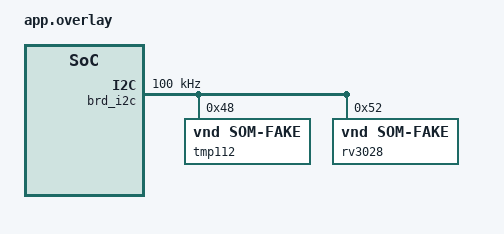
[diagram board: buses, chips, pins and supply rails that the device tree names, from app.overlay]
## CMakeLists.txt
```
# SPDX-License-Identifier: Apache-2.0
#
# native_sim coverage for the SoM power-domain runtime (#2784, U5):
# policy validation, quiesce / restore order, the CC3501E restore path, the
# BKRAM record and the cold-boot restore.
#
# Like power_alif_dcdc_bounds, this app does NOT set CONFIG_ALP_SDK=y: it
# compiles the real som_power*.c translation units (and the TMP112 chip driver)
# straight into the test image, so nothing else from the SDK library is linked
# and the test can fake the CC3501E driver, the OSPI flash suspend/resume, the
# pad-apply step and the alp_i2c / alp_gpio calls the adapters make.  The real
# pinctrl path and the pm_policy vtable wiring are covered by power_som_pm_policy.  The domains come from app.overlay: GPIO and I2C emulators
# standing in for the AEN LPGPIO / GPIO / BRD_I2C blocks, with the AEN801-style
# population (no HyperRAM, so EXT_RAM is absent).
cmake_minimum_required(VERSION 3.20.0)
find_package(Zephyr REQUIRED HINTS $ENV{ZEPHYR_BASE})
project(test_power_som_domains)

get_filename_component(ALP_SDK_ROOT ${CMAKE_CURRENT_SOURCE_DIR}/../../.. ABSOLUTE)
set(POWER_SRC ${ALP_SDK_ROOT}/src/backends/power)

target_include_directories(app PRIVATE ${ALP_SDK_ROOT}/include ${ALP_SDK_ROOT}/zephyr/include ${POWER_SRC})

# Shortened so the runtime restore does not sit through the real 3.5 s settle.
target_compile_definitions(app PRIVATE
    CONFIG_ALP_SDK_SOM_POWER_BKRAM_BENCH_SCRATCH=1
    CONFIG_ALP_SDK_SOM_PD_WIFI_SETTLE_MS=10
    ALP_SOM_CC3501E_PING_GAP_MS=1)
if(ALP_TEST_RAIL_OFF)
    target_compile_definitions(app PRIVATE CONFIG_ALP_SDK_SOM_PD_WIFI_RAIL_OFF=1 ALP_TEST_RAIL_OFF=1)
endif()

target_sources(app PRIVATE
    src/test_power_som_domains.c
    src/fakes.c
    src/fake_i2c_emul.c
    ${POWER_SRC}/som_power.c
    ${POWER_SRC}/som_power_record.c
    ${POWER_SRC}/som_power_cc3501e.c
    ${POWER_SRC}/som_power_flash.c
    ${POWER_SRC}/som_power_tmp112.c
    ${POWER_SRC}/som_power_rv3028.c
    ${ALP_SDK_ROOT}/chips/tmp112/tmp112.c
)
```

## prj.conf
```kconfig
CONFIG_ZTEST=y
CONFIG_GPIO=y
CONFIG_GPIO_EMUL=y
CONFIG_I2C=y
CONFIG_I2C_EMUL=y
CONFIG_EMUL=y
CONFIG_CRC=y
```

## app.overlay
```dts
/*
 * SPDX-License-Identifier: Apache-2.0
 *
 * Stand-ins for the AEN LPGPIO (P15_n), GPIO11, GPIO5 and BRD_I2C blocks, and
 * the generated alp,som-power node for an AEN801-style SoM (HyperRAM DNI, so
 * no ext-ram domain).  Pins and polarities mirror the generated board dts.
 */
#include <zephyr/dt-bindings/gpio/gpio.h>

/ {
	lpgpio: gpio@200 {
		compatible = "zephyr,gpio-emul";
		reg = <0x200 0x4>;
		gpio-controller;
		#gpio-cells = <2>;
		ngpios = <8>;
		rising-edge;
		falling-edge;
		high-level;
		low-level;
	};

	gpio11: gpio@300 {
		compatible = "zephyr,gpio-emul";
		reg = <0x300 0x4>;
		gpio-controller;
		#gpio-cells = <2>;
		ngpios = <8>;
		rising-edge;
		falling-edge;
		high-level;
		low-level;
	};

	gpio5: gpio@400 {
		compatible = "zephyr,gpio-emul";
		reg = <0x400 0x4>;
		gpio-controller;
		#gpio-cells = <2>;
		ngpios = <8>;
		rising-edge;
		falling-edge;
		high-level;
		low-level;
	};

	brd_i2c: i2c@500 {
		compatible = "zephyr,i2c-emul-controller";
		clock-frequency = <100000>;
		#address-cells = <1>;
		#size-cells = <0>;
		reg = <0x500 4>;

		tmp112: tmp112@48 {
			compatible = "vnd,som-fake";
			reg = <0x48>;
		};

		rv3028: rv3028@52 {
			compatible = "vnd,som-fake";
			reg = <0x52>;
		};
	};

	/* Test stand-in for the generated pinctrl_som_power group (the real one is
	 * alif,pinctrl pinmux + pad config; only the pinctrl-0 plumbing matters here). */
	som_pinctrl {
		compatible = "vnd,som-pinctrl-test";

		pinctrl_som_power: pinctrl_som_power {
			group0 {
				pins = <1>, <4>, <5>, <6>, <7>;
			};
		};
	};

	/* STOP_MODE_STAT register window; the test replaces the read. */
	stop_mode: stop-mode@600 {
		compatible = "alif,stop-mode";
		reg = <0x600 0x4>;
	};

	som_power: som-power {
		compatible = "alp,som-power";
		pinctrl-0 = <&pinctrl_som_power>;
		pinctrl-names = "default";
		alp,wired-lpgpio-pads = <2 3 6 7>;

		wifi-ble {
			compatible = "alp,som-power-domain";
			alp,role = "wifi_ble";
			reset-gpios = <&lpgpio 1 GPIO_ACTIVE_LOW>;
			enable-gpios = <&lpgpio 5 GPIO_ACTIVE_HIGH>;
			alp,chip = "cc3501e";
			alp,default-action = "hold_reset";
			alp,default-modes = "stop", "standby";
			alp,stop-hold = "unproven";
			alp,restore = "nreset_release";
			alp,rail-off-opt-in;
			alp,dependents = "cam_ldo";
		};

		eth-phy {
			compatible = "alp,som-power-domain";
			alp,role = "eth_phy";
			powerdown-gpios = <&lpgpio 4 GPIO_ACTIVE_LOW>;
			reset-gpios = <&gpio11 6 GPIO_ACTIVE_LOW>;
			alp,chip = "dp83825";
			alp,default-action = "powerdown_pin";
			alp,default-modes = "stop", "standby";
			alp,stop-hold = "unproven";
			alp,restore = "pin_release";
			alp,dependents = "phy_refclk";
		};

		ext-flash {
			compatible = "alp,som-power-domain";
			alp,role = "ext_flash";
			reset-gpios = <&lpgpio 7 GPIO_ACTIVE_LOW>;
			alp,chip = "IS25WX256-JHLE";
			alp,default-action = "hold_reset";
			alp,default-modes = "stop", "standby";
			alp,stop-hold = "unproven";
			alp,restore = "driver_release";
		};

		temp-sensor {
			compatible = "alp,som-power-domain";
			alp,role = "temp_sensor";
			alp,device = <&tmp112>;
			alp,chip = "tmp112";
			alp,default-action = "shutdown_reg";
			alp,default-modes = "stop", "standby";
			alp,stop-hold = "none";
			alp,restore = "register_write";
		};

		rtc {
			compatible = "alp,som-power-domain";
			alp,role = "rtc";
			wake-gpios = <&lpgpio 0 GPIO_ACTIVE_LOW>;
			alp,primary-rtc;
			alp,device = <&rv3028>;
			alp,chip = "rv3028c7";
			alp,default-action = "keep_alive";
			alp,default-modes = "stop", "standby";
			alp,stop-hold = "none";
			alp,restore = "none";
		};

		backlight {
			compatible = "alp,som-power-domain";
			alp,role = "backlight";
			enable-gpios = <&gpio5 5 GPIO_ACTIVE_HIGH>;
			alp,default-action = "enable_low";
			alp,default-modes = "stop", "standby";
			alp,stop-hold = "no";
			alp,restore = "pin_release";
		};
	};
};
```

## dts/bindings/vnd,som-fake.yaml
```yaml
# SPDX-License-Identifier: Apache-2.0
description: Register-file fake standing in for the TMP112 / RV-3028 on the BRD_I2C emulator.
compatible: "vnd,som-fake"
include: [i2c-device.yaml]
```

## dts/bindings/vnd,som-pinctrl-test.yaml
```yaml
# SPDX-License-Identifier: Apache-2.0
description: Test stand-in for a pinctrl controller holding the SoM power pad state.
compatible: "vnd,som-pinctrl-test"
child-binding:
  description: A pinctrl state.
  child-binding:
    description: A pin group.
    properties:
      pins:
        type: array
        required: true
```

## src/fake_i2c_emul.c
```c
/* SPDX-License-Identifier: Apache-2.0 */
/*
 * Emulated register-file I2C device standing in for the TMP112 / RV-3028 on the
 * BRD_I2C emulator: the DT-addressed default path of the SoM power layer talks
 * to it.  Shared by both power_som_* suites.
 */

#define DT_DRV_COMPAT vnd_som_fake

#include <string.h>

#include <zephyr/drivers/emul.h>
#include <zephyr/drivers/i2c.h>
#include <zephyr/drivers/i2c_emul.h>

/* ---- Emulated I2C register file -------------------------------------------- */

struct fake_data {
	uint8_t regs[256];
	uint8_t ptr;
};

static int fake_transfer(const struct emul *target, struct i2c_msg *msgs, int num_msgs, int addr)
{
	struct fake_data *d = target->data;

	(void)addr;
	for (int m = 0; m < num_msgs; ++m) {
		if ((msgs[m].flags & I2C_MSG_READ) != 0) {
			for (uint32_t i = 0; i < msgs[m].len; ++i) {
				msgs[m].buf[i] = d->regs[d->ptr++];
			}
		} else if (msgs[m].len >= 1u) {
			d->ptr = msgs[m].buf[0];
			for (uint32_t i = 1; i < msgs[m].len; ++i) {
				d->regs[d->ptr++] = msgs[m].buf[i];
			}
		}
	}
	return 0;
}

static const struct i2c_emul_api fake_api = { .transfer = fake_transfer };

static int fake_init(const struct emul *target, const struct device *parent)
{
	(void)target;
	(void)parent;
	return 0;
}

/* The emulator references the device of the node it emulates, so each fake
 * node needs a (do-nothing) device of its own. */
#define FAKE_DEFINE(n) \
	static struct fake_data fake_data_##n; \
	DEVICE_DT_INST_DEFINE(n, NULL, NULL, NULL, NULL, POST_KERNEL, 99, NULL); \
	EMUL_DT_INST_DEFINE(n, fake_init, &fake_data_##n, NULL, &fake_api, NULL)

DT_INST_FOREACH_STATUS_OKAY(FAKE_DEFINE)

uint8_t *fake_regs(const struct emul *e)
{
	return ((struct fake_data *)e->data)->regs;
}
```

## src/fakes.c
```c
/* SPDX-License-Identifier: Apache-2.0 */
/*
 * Fakes for the SoM power-domain test: an emulated register-file I2C device
 * for the DT-addressed TMP112 / RV-3028 default path, the CC3501E driver
 * entry points the adapter calls, and the alp_gpio / alp_i2c / alp_delay_ms
 * calls the adapters and the TMP112 chip driver make.
 */

#include <string.h>

#include <zephyr/drivers/gpio.h>
#include <zephyr/drivers/gpio/gpio_emul.h>
#include <zephyr/kernel.h>

#include <alp/chips/cc3501e.h>
#include <alp/chips/rv3028c7.h>
#include <alp/peripheral.h>

#include "fakes.h"

/* ---- CC3501E driver fakes --------------------------------------------------- */

struct fake_cc g_cc;
cc3501e_t      g_fw;

static int        g_nrst_obj, g_en_obj;
alp_gpio_t *const g_nrst_pin = (alp_gpio_t *)&g_nrst_obj;
alp_gpio_t *const g_en_pin   = (alp_gpio_t *)&g_en_obj;

alp_status_t alp_gpio_write(alp_gpio_t *pin, bool level)
{
	if (pin == g_nrst_pin) {
		g_cc.nrst_level   = level;
		g_cc.nrst_written = true;
	} else if (pin == g_en_pin) {
		g_cc.en_level   = level;
		g_cc.en_written = true;
	}
	return ALP_OK;
}

alp_status_t cc3501e_hard_reset(cc3501e_t *ctx)
{
	(void)ctx;
	g_cc.hard_reset_calls++;
	g_cc.nrst_level = true; /* the real one pulses nRESET and leaves it released */
	return ALP_OK;
}

alp_status_t cc3501e_reset(cc3501e_t *ctx)
{
	(void)ctx;
	g_cc.reset_calls++;
	return ALP_OK;
}

alp_status_t cc3501e_power_off(cc3501e_t *ctx)
{
	g_cc.power_off_calls++;
	ctx->initialised = false;
	return ALP_OK;
}

/* ---- RV-3028 driver fake ------------------------------------------------------ */

unsigned int g_clkout_calls;
int          g_clkout_src = -1;

alp_status_t rv3028c7_route_clkout(rv3028c7_t *ctx, rv3028c7_clkout_src_t src)
{
	(void)ctx;
	g_clkout_calls++;
	g_clkout_src = (int)src;
	return ALP_OK;
}

unsigned int g_evi_arms, g_evi_disarms;
int          g_evi_active_high = -1;
int          g_evi_filter      = -1;

alp_status_t rv3028c7_event_arm(rv3028c7_t *ctx, bool active_high, rv3028c7_evi_filter_t filter)
{
	(void)ctx;
	g_evi_arms++;
	g_evi_active_high = active_high ? 1 : 0;
	g_evi_filter      = (int)filter;
	return ALP_OK;
}

alp_status_t rv3028c7_event_disarm(rv3028c7_t *ctx)
{
	(void)ctx;
	g_evi_disarms++;
	return ALP_OK;
}

void alp_delay_ms(uint32_t ms)
{
	k_msleep((int32_t)ms);
}

/* ---- alp_i2c fake for the TMP112 chip driver --------------------------------- */

uint8_t g_chip_regs[256];

alp_status_t alp_i2c_write(alp_i2c_t *bus, uint8_t addr, const uint8_t *data, size_t len)
{
	(void)bus;
	(void)addr;
	for (size_t i = 1; i < len; ++i) {
		g_chip_regs[(uint8_t)(data[0] + i - 1)] = data[i];
	}
	return ALP_OK;
}

alp_status_t alp_i2c_write_read(alp_i2c_t     *bus,
                                uint8_t        addr,
                                const uint8_t *wdata,
                                size_t         wlen,
                                uint8_t       *rdata,
                                size_t         rlen)
{
	(void)bus;
	(void)addr;
	(void)wlen;
	for (size_t i = 0; i < rlen; ++i) {
		rdata[i] = g_chip_regs[(uint8_t)(wdata[0] + i)];
	}
	return ALP_OK;
}

/* ---- SoM power layer seams ------------------------------------------------------- */

unsigned int g_pads_calls;
alp_status_t g_pads_rc = ALP_OK;
uint32_t     g_stop_mode;

alp_status_t alp_som_power_pads_apply(void)
{
	g_pads_calls++;
	return g_pads_rc;
}

/* Strong definition: the emulator keeps a driven output apart from its input side,
 * so read the output latch the way a real pad with an input buffer reads back.
 * g_pad_stuck_pin >= 0 makes that one pin read the OPPOSITE of what was driven. */
int g_pad_stuck_pin = -1;

int alp_som_power_pad_read(const struct gpio_dt_spec *s)
{
	int phys = gpio_emul_output_get(s->port, s->pin);

	if (phys < 0) {
		return phys;
	}
	int logical = ((s->dt_flags & GPIO_ACTIVE_LOW) != 0U) ? !phys : phys;

	return (g_pad_stuck_pin == (int)s->pin) ? !logical : logical;
}

/* Strong definition: replaces the weak register read in som_power.c. */
uint32_t alp_som_power_stop_mode_read(void)
{
	return g_stop_mode;
}

alp_status_t cc3501e_ping(cc3501e_t *ctx)
{
	g_cc.ping_calls++;
	if (!ctx->initialised || g_cc.ping_always_fail) {
		return ALP_ERR_IO;
	}
	return ALP_OK;
}

void fakes_reset(void)
{
	g_pad_stuck_pin = -1;
	g_pads_calls    = 0;
	g_pads_rc       = ALP_OK;
	g_stop_mode     = 0x10u;
	memset(&g_cc, 0, sizeof(g_cc));
	g_clkout_calls = 0;
	g_clkout_src   = -1;
	memset(&g_fw, 0, sizeof(g_fw));
	g_fw.reset_pin   = g_nrst_pin;
	g_fw.enable_pin  = g_en_pin;
	g_fw.initialised = true;
	memset(g_chip_regs, 0, sizeof(g_chip_regs));
}
```

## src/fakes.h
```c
/* SPDX-License-Identifier: Apache-2.0 */
#ifndef FAKES_H
#define FAKES_H

#include <stdbool.h>
#include <stdint.h>

#include <zephyr/drivers/emul.h>

#include <alp/chips/cc3501e.h>

/* Call counters and recorded state of the faked CC3501E driver. */
struct fake_cc {
	unsigned int hard_reset_calls;
	unsigned int reset_calls; /* must stay 0: cc3501e_reset() is the supply-cycling path */
	unsigned int power_off_calls;
	bool         nrst_level; /* last level written to reset_pin */
	bool         nrst_written;
	bool         en_level;
	bool         en_written;
	unsigned int ping_calls;
	bool         ping_always_fail;
};

extern struct fake_cc    g_cc;
extern cc3501e_t         g_fw;
extern alp_gpio_t *const g_nrst_pin;
extern alp_gpio_t *const g_en_pin;

/* Register file of an emulated I2C device (one byte per register). */
uint8_t *fake_regs(const struct emul *e);

/* Bus fake the TMP112 chip driver is pointed at. */
extern uint8_t g_chip_regs[256];

extern unsigned int g_clkout_calls;
extern int          g_clkout_src;

/* alp_som_power_pads_apply() stand-in: call count and the status it returns. */
extern unsigned int g_pads_calls;
extern alp_status_t g_pads_rc;

/* Pad index (>= 0) that reads back the opposite of what was driven; -1 = none. */
extern int g_pad_stuck_pin;

/* STOP_MODE_STAT word the boot restore reads (bit 4 = STOP wake). */
extern uint32_t g_stop_mode;

void fakes_reset(void);

#endif /* FAKES_H */
```
